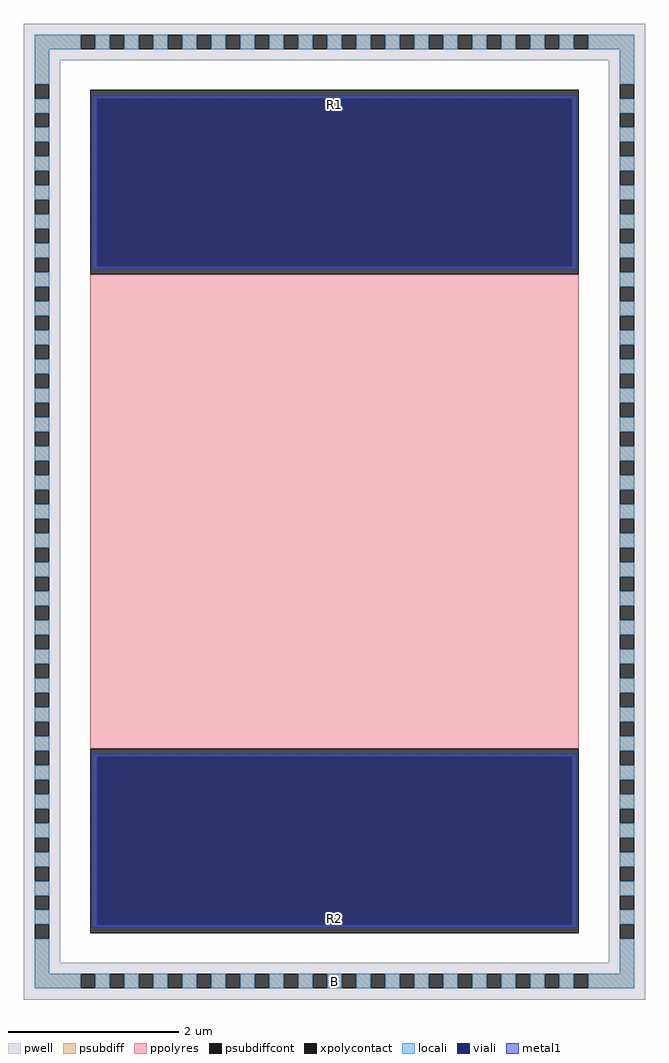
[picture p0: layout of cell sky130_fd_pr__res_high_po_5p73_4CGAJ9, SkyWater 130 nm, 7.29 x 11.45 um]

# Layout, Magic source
magic
tech sky130A
magscale 1 2
<< pwell >>
rect -729 1059 729 1145
rect -729 -1059 -643 1059
rect 643 -1059 729 1059
rect -729 -1145 729 -1059
<< psubdiff >>
rect -703 1085 -595 1119
rect -561 1085 -527 1119
rect -493 1085 -459 1119
rect -425 1085 -391 1119
rect -357 1085 -323 1119
rect -289 1085 -255 1119
rect -221 1085 -187 1119
rect -153 1085 -119 1119
rect -85 1085 -51 1119
rect -17 1085 17 1119
rect 51 1085 85 1119
rect 119 1085 153 1119
rect 187 1085 221 1119
rect 255 1085 289 1119
rect 323 1085 357 1119
rect 391 1085 425 1119
rect 459 1085 493 1119
rect 527 1085 561 1119
rect 595 1085 703 1119
rect -703 1003 -669 1085
rect 669 1003 703 1085
rect -703 935 -669 969
rect -703 867 -669 901
rect -703 799 -669 833
rect -703 731 -669 765
rect -703 663 -669 697
rect -703 595 -669 629
rect -703 527 -669 561
rect -703 459 -669 493
rect -703 391 -669 425
rect -703 323 -669 357
rect -703 255 -669 289
rect -703 187 -669 221
rect -703 119 -669 153
rect -703 51 -669 85
rect -703 -17 -669 17
rect -703 -85 -669 -51
rect -703 -153 -669 -119
rect -703 -221 -669 -187
rect -703 -289 -669 -255
rect -703 -357 -669 -323
rect -703 -425 -669 -391
rect -703 -493 -669 -459
rect -703 -561 -669 -527
rect -703 -629 -669 -595
rect -703 -697 -669 -663
rect -703 -765 -669 -731
rect -703 -833 -669 -799
rect -703 -901 -669 -867
rect -703 -969 -669 -935
rect 669 935 703 969
rect 669 867 703 901
rect 669 799 703 833
rect 669 731 703 765
rect 669 663 703 697
rect 669 595 703 629
rect 669 527 703 561
rect 669 459 703 493
rect 669 391 703 425
rect 669 323 703 357
rect 669 255 703 289
rect 669 187 703 221
rect 669 119 703 153
rect 669 51 703 85
rect 669 -17 703 17
rect 669 -85 703 -51
rect 669 -153 703 -119
rect 669 -221 703 -187
rect 669 -289 703 -255
rect 669 -357 703 -323
rect 669 -425 703 -391
rect 669 -493 703 -459
rect 669 -561 703 -527
rect 669 -629 703 -595
rect 669 -697 703 -663
rect 669 -765 703 -731
rect 669 -833 703 -799
rect 669 -901 703 -867
rect 669 -969 703 -935
rect -703 -1085 -669 -1003
rect 669 -1085 703 -1003
rect -703 -1119 -595 -1085
rect -561 -1119 -527 -1085
rect -493 -1119 -459 -1085
rect -425 -1119 -391 -1085
rect -357 -1119 -323 -1085
rect -289 -1119 -255 -1085
rect -221 -1119 -187 -1085
rect -153 -1119 -119 -1085
rect -85 -1119 -51 -1085
rect -17 -1119 17 -1085
rect 51 -1119 85 -1085
rect 119 -1119 153 -1085
rect 187 -1119 221 -1085
rect 255 -1119 289 -1085
rect 323 -1119 357 -1085
rect 391 -1119 425 -1085
rect 459 -1119 493 -1085
rect 527 -1119 561 -1085
rect 595 -1119 703 -1085
<< psubdiffcont >>
rect -595 1085 -561 1119
rect -527 1085 -493 1119
rect -459 1085 -425 1119
rect -391 1085 -357 1119
rect -323 1085 -289 1119
rect -255 1085 -221 1119
rect -187 1085 -153 1119
rect -119 1085 -85 1119
rect -51 1085 -17 1119
rect 17 1085 51 1119
rect 85 1085 119 1119
rect 153 1085 187 1119
rect 221 1085 255 1119
rect 289 1085 323 1119
rect 357 1085 391 1119
rect 425 1085 459 1119
rect 493 1085 527 1119
rect 561 1085 595 1119
rect -703 969 -669 1003
rect -703 901 -669 935
rect -703 833 -669 867
rect -703 765 -669 799
rect -703 697 -669 731
rect -703 629 -669 663
rect -703 561 -669 595
rect -703 493 -669 527
rect -703 425 -669 459
rect -703 357 -669 391
rect -703 289 -669 323
rect -703 221 -669 255
rect -703 153 -669 187
rect -703 85 -669 119
rect -703 17 -669 51
rect -703 -51 -669 -17
rect -703 -119 -669 -85
rect -703 -187 -669 -153
rect -703 -255 -669 -221
rect -703 -323 -669 -289
rect -703 -391 -669 -357
rect -703 -459 -669 -425
rect -703 -527 -669 -493
rect -703 -595 -669 -561
rect -703 -663 -669 -629
rect -703 -731 -669 -697
rect -703 -799 -669 -765
rect -703 -867 -669 -833
rect -703 -935 -669 -901
rect -703 -1003 -669 -969
rect 669 969 703 1003
rect 669 901 703 935
rect 669 833 703 867
rect 669 765 703 799
rect 669 697 703 731
rect 669 629 703 663
rect 669 561 703 595
rect 669 493 703 527
rect 669 425 703 459
rect 669 357 703 391
rect 669 289 703 323
rect 669 221 703 255
rect 669 153 703 187
rect 669 85 703 119
rect 669 17 703 51
rect 669 -51 703 -17
rect 669 -119 703 -85
rect 669 -187 703 -153
rect 669 -255 703 -221
rect 669 -323 703 -289
rect 669 -391 703 -357
rect 669 -459 703 -425
rect 669 -527 703 -493
rect 669 -595 703 -561
rect 669 -663 703 -629
rect 669 -731 703 -697
rect 669 -799 703 -765
rect 669 -867 703 -833
rect 669 -935 703 -901
rect 669 -1003 703 -969
rect -595 -1119 -561 -1085
rect -527 -1119 -493 -1085
rect -459 -1119 -425 -1085
rect -391 -1119 -357 -1085
rect -323 -1119 -289 -1085
rect -255 -1119 -221 -1085
rect -187 -1119 -153 -1085
rect -119 -1119 -85 -1085
rect -51 -1119 -17 -1085
rect 17 -1119 51 -1085
rect 85 -1119 119 -1085
rect 153 -1119 187 -1085
rect 221 -1119 255 -1085
rect 289 -1119 323 -1085
rect 357 -1119 391 -1085
rect 425 -1119 459 -1085
rect 493 -1119 527 -1085
rect 561 -1119 595 -1085
<< xpolycontact >>
rect -573 557 573 989
rect -573 -989 573 -557
<< ppolyres >>
rect -573 -557 573 557
<< locali >>
rect -703 1085 -595 1119
rect -561 1085 -527 1119
rect -493 1085 -459 1119
rect -425 1085 -391 1119
rect -357 1085 -323 1119
rect -289 1085 -255 1119
rect -221 1085 -187 1119
rect -153 1085 -119 1119
rect -85 1085 -51 1119
rect -17 1085 17 1119
rect 51 1085 85 1119
rect 119 1085 153 1119
rect 187 1085 221 1119
rect 255 1085 289 1119
rect 323 1085 357 1119
rect 391 1085 425 1119
rect 459 1085 493 1119
rect 527 1085 561 1119
rect 595 1085 703 1119
rect -703 1003 -669 1085
rect 669 1003 703 1085
rect -703 935 -669 969
rect -703 867 -669 901
rect -703 799 -669 833
rect -703 731 -669 765
rect -703 663 -669 697
rect -703 595 -669 629
rect -703 527 -669 561
rect 669 935 703 969
rect 669 867 703 901
rect 669 799 703 833
rect 669 731 703 765
rect 669 663 703 697
rect 669 595 703 629
rect -703 459 -669 493
rect -703 391 -669 425
rect -703 323 -669 357
rect -703 255 -669 289
rect -703 187 -669 221
rect -703 119 -669 153
rect -703 51 -669 85
rect -703 -17 -669 17
rect -703 -85 -669 -51
rect -703 -153 -669 -119
rect -703 -221 -669 -187
rect -703 -289 -669 -255
rect -703 -357 -669 -323
rect -703 -425 -669 -391
rect -703 -493 -669 -459
rect -703 -561 -669 -527
rect 669 527 703 561
rect 669 459 703 493
rect 669 391 703 425
rect 669 323 703 357
rect 669 255 703 289
rect 669 187 703 221
rect 669 119 703 153
rect 669 51 703 85
rect 669 -17 703 17
rect 669 -85 703 -51
rect 669 -153 703 -119
rect 669 -221 703 -187
rect 669 -289 703 -255
rect 669 -357 703 -323
rect 669 -425 703 -391
rect 669 -493 703 -459
rect -703 -629 -669 -595
rect -703 -697 -669 -663
rect -703 -765 -669 -731
rect -703 -833 -669 -799
rect -703 -901 -669 -867
rect -703 -969 -669 -935
rect 669 -561 703 -527
rect 669 -629 703 -595
rect 669 -697 703 -663
rect 669 -765 703 -731
rect 669 -833 703 -799
rect 669 -901 703 -867
rect 669 -969 703 -935
rect -703 -1085 -669 -1003
rect 669 -1085 703 -1003
rect -703 -1119 -595 -1085
rect -561 -1119 -527 -1085
rect -493 -1119 -459 -1085
rect -425 -1119 -391 -1085
rect -357 -1119 -323 -1085
rect -289 -1119 -255 -1085
rect -221 -1119 -187 -1085
rect -153 -1119 -119 -1085
rect -85 -1119 -51 -1085
rect -17 -1119 17 -1085
rect 51 -1119 85 -1085
rect 119 -1119 153 -1085
rect 187 -1119 221 -1085
rect 255 -1119 289 -1085
rect 323 -1119 357 -1085
rect 391 -1119 425 -1085
rect 459 -1119 493 -1085
rect 527 -1119 561 -1085
rect 595 -1119 703 -1085
<< viali >>
rect -557 575 557 969
rect -557 -970 557 -576
<< metal1 >>
rect -569 969 569 977
rect -569 575 -557 969
rect 557 575 569 969
rect -569 568 569 575
rect -569 -576 569 -568
rect -569 -970 -557 -576
rect 557 -970 569 -576
rect -569 -977 569 -970
<< labels >>
rlabel locali s 0 -1102 0 -1102 4 B
rlabel locali s 0 954 0 954 4 R1
rlabel locali s 0 -954 0 -954 4 R2
<< properties >>
string FIXED_BBOX -686 -1102 686 1102
<< end >>
